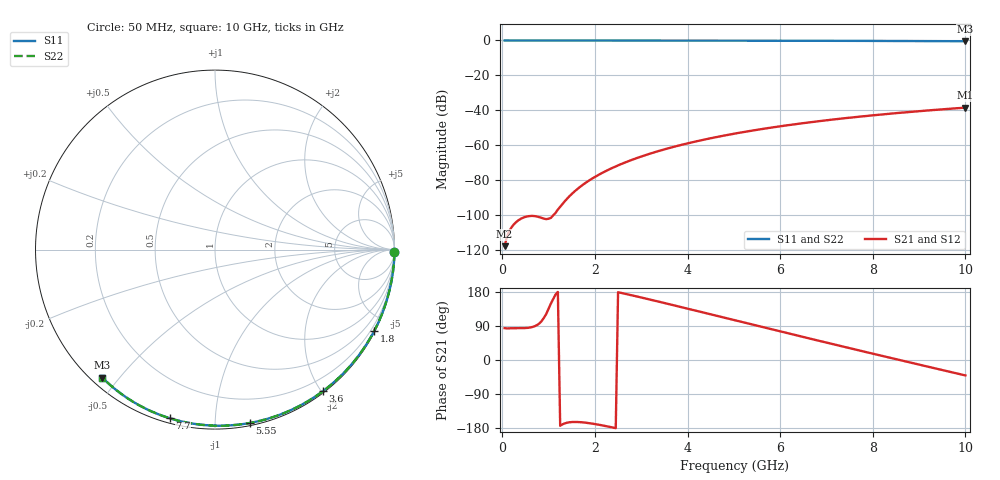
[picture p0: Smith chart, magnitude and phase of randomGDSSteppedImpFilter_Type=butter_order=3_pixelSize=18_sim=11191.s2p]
! freq	dB(S11)	phase(S11)	dB(S12)	phase(S12)
!  dB(S21)	phase(S21)	dB(S22)	phase(S22)
!S-par simulation data
#  GHz  S  DB  R 50
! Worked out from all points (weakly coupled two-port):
!   200 points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, 50 MHz to 10 GHz, reference 50 ohm
!   highest |S21| = -38.43 dB at 10 GHz (marker M1); lowest = -117.7 dB at 50 MHz (marker M2)
!   lowest |S11| = -0.4 dB at 10 GHz (marker M3), VSWR 39.09, Z = 1.54 - j22.6 ohm
!   |S11| at or under -10 dB: nowhere
!   |S22| runs from -0.4 to 0.0 dB; largest |S21 - S12| = 0
!   S11 on the Smith chart (normalised r, x): 50 MHz: open; 1.8 GHz: 0.04, -4.18; 3.6 GHz: 0.02, -2.02; 5.55 GHz: 0.02, -1.22; 7.7 GHz: 0.02, -0.77; 10 GHz: 0.03, -0.45
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0.05  -0.00 -0.8  -117.67 84.0  -117.67 84.0  -0.00 -0.8
0.9  -0.02 -13.6  -101.94 111.6  -101.94 111.6  -0.02 -13.6
1.75  -0.03 -26.2  -82.35 -164.7  -82.35 -164.7  -0.03 -26.2
1.8  -0.03 -26.9  -81.41 -165.4  -81.41 -165.4  -0.03 -26.9
1.85  -0.04 -27.7  -80.53 -166.2  -80.53 -166.2  -0.04 -27.7
1.9  -0.04 -28.4  -79.67 -167.1  -79.67 -167.1  -0.04 -28.4
2.05  -0.04 -30.6  -77.30 -170.1  -77.30 -170.1  -0.04 -30.6
2.25  -0.04 -33.5  -74.50 -174.7  -74.50 -174.7  -0.04 -33.5
2.45  -0.05 -36.4  -72.02 -179.8  -72.02 -179.8  -0.05 -36.4
2.65  -0.05 -39.3  -69.80 174.8  -69.80 174.8  -0.05 -39.3
3  -0.06 -44.2  -66.39 165.0  -66.39 165.0  -0.06 -44.2
3.4  -0.07 -49.9  -63.06 153.4  -63.06 153.4  -0.07 -49.9
3.6  -0.07 -52.6  -61.57 147.5  -61.57 147.5  -0.07 -52.6
4.3  -0.09 -62.2  -57.06 126.6  -57.06 126.6  -0.09 -62.2
5.05  -0.11 -72.2  -53.13 104.0  -53.13 104.0  -0.11 -72.2
5.55  -0.13 -78.6  -50.90 89.0  -50.90 89.0  -0.13 -78.6
6.1  -0.15 -85.6  -48.72 72.6  -48.72 72.6  -0.15 -85.6
6.7  -0.18 -93.0  -46.62 54.8  -46.62 54.8  -0.18 -93.0
7.7  -0.24 -105.0  -43.62 25.4  -43.62 25.4  -0.24 -105.0
8.35  -0.29 -112.6  -41.95 6.6  -41.95 6.6  -0.29 -112.6
9.15  -0.36 -121.8  -40.12 -16.4  -40.12 -16.4  -0.36 -121.8
10  -0.44 -131.4  -38.43 -40.7  -38.43 -40.7  -0.44 -131.4
